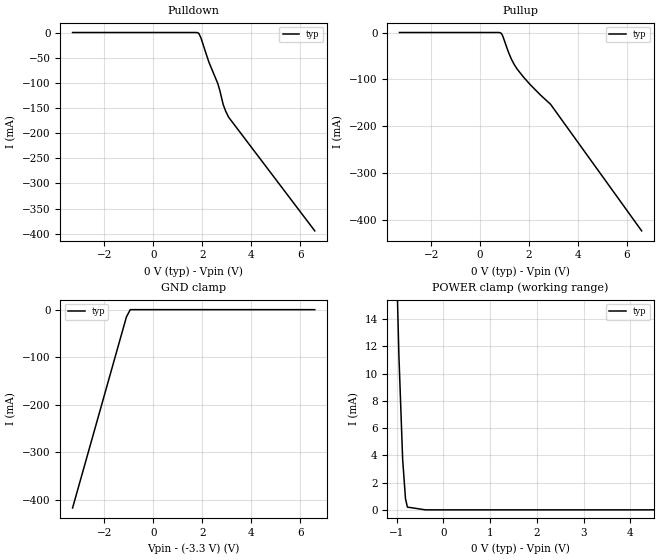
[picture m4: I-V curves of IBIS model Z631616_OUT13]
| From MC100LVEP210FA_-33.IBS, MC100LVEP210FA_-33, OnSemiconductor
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| (C) COPYRIGHT 1993-2000
| MENTOR GRAPHICS CORPORATION
| ICX STANDARD LIBRARY, ICX PROJECT MODELING,
| ICX CUSTOM MODELING, ICX VENDOR MODEL
| ALL RIGHTS RESERVED.
| THE FOLLOWING ARE TRADEMARKS OR SERVICE MARKS OF
| MENTOR GRAPHICS CORPORATION:ICX (R), ICX STANDARD
| LIBRARY(R), ICX PROJECT MODELING(R), ICX CUSTOM
| MODELING(R), qualityIBIS(TM), MODELVIEWER(TM),
| AND MODELEDITOR(TM)
| ALL COPIES OF SOFTWARE, INCLUDING BUT NOT LIMITED TO
| ANY MODIFICATIONS, ENHANCEMENTS OR DERIVATIVE WORKS,
| MUST CONTAIN ALL MENTOR GRAPHICS CORPORATION'S
| NOTICES AND LEGENDS, INCLUDING THOSE EMBEDDED IN
| SOFTWARE AND THOSE AFFIXED TO SOFTWARE MEDIUM
| AND CONTAINER, AS RECEIVED FROM MENTOR GRAPHICS
| CORPORATION.
| Model Application Version 1.89 2/18/99.
[Model] Z631616_OUT13
Model_type Output_ECL
Vref=-2.000V
Rref=50.00ohms
Cref=0.000F
Vmeas=-1.400V
C_comp 1.000pF NA NA
| variable typ   min   max
[Voltage Range] -3.300V NA NA
[POWER Clamp Reference] 0.000V NA NA
[Pullup Reference] 0.000V NA NA
[Pulldown Reference] 0.000V NA NA
[GND Clamp Reference] -3.300V NA NA
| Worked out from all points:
|   GND clamp passes 1 mA (typ) near -0.95 V on its own axis
|   POWER clamp passes 1 mA (typ) near -0.82 V on its own axis
[GND Clamp]
-3.3V     -416.9mA   NA         NA
-1.099V   -15.38mA   NA         NA
-942mV    0A         NA         NA
6.6V      0A         NA         NA
[Pulldown]
-3.3V     0A         NA         NA
1.743V    0A         NA         NA
1.865V    -2.1mA     NA         NA
1.946V    -10.5mA    NA         NA
2.27V     -58.6mA    NA         NA
2.635V    -101.2mA   NA         NA
2.716V    -114.6mA   NA         NA
2.858V    -143.3mA   NA         NA
2.959V    -156.3mA   NA         NA
3.081V    -168.4mA   NA         NA
6.6V      -394.1mA   NA         NA
[Pullup]
-3.3V     0A         NA         NA
750mV     0A         NA         NA
851mV     -1.4mA     NA         NA
932mV     -8.8mA     NA         NA
1.155V    -41.9mA    NA         NA
1.277V    -56.9mA    NA         NA
1.52V     -78.6mA    NA         NA
2.047V    -111.3mA   NA         NA
2.878V    -153.2mA   NA         NA
6.6V      -423.2mA   NA         NA
[POWER Clamp]
-3.3V     398.3mA    NA         NA
-1.054V   25mA       NA         NA
-953mV    11.4mA     NA         NA
-872mV    3.7mA      NA         NA
-811mV    800uA      NA         NA
-770mV    200uA      NA         NA
-385mV    0A         NA         NA
6.6V      0A         NA         NA
[Ramp]
| variable typ min max
dV/dt_r 518.0m/148.2p NA NA
dV/dt_f 518.0m/141.6p NA NA
R_load = 50.00Ohms
